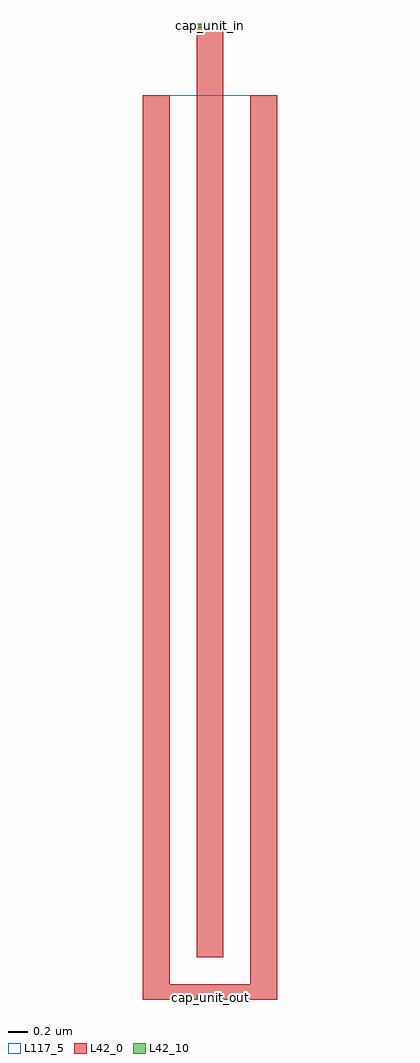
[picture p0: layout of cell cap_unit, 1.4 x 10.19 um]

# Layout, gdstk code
import gdstk
lib = gdstk.Library(unit=1e-6, precision=1e-09)
def R(c, l, rs):  # rectangles x0, y0, x1, y1
    for r in rs: c.add(gdstk.rectangle(r[:2], r[2:], *l))
L42_0 = (42, 0)
L42_10 = (42, 10)
L117_5 = (117, 5)

cap_unit = lib.new_cell('cap_unit')
R(cap_unit, L42_0, [(2.1,-0.44,2.38,9), (2.1,-0.44,2.38,9), (2.1,-0.44,3.5,-0.28), (3.22,-0.44,3.5,9), (3.22,-0.44,3.5,9), (2.66,0,2.94,9.75)])
R(cap_unit, L42_10, [(2.66,-0.44,2.94,-0.395), (2.66,9.705,2.94,9.75)])
R(cap_unit, L117_5, [(2.1,-0.44,3.5,9), (2.1,-0.44,3.5,9)])
cap_unit.add(gdstk.Label('cap_unit_in', (2.81,9.725), layer=42, texttype=10))
cap_unit.add(gdstk.Label('cap_unit_out', (2.81,-0.42), layer=42, texttype=10))

lib.write_gds('cap_unit.gds')
